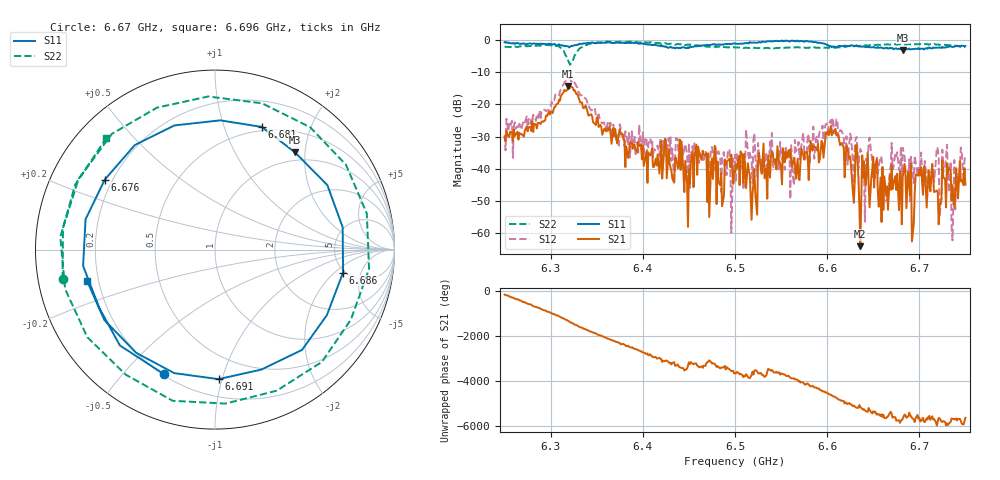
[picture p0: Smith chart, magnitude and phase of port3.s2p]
# Hz S RI R 50
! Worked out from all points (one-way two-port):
!   401 points, 6.25 GHz to 6.75 GHz, reference 50 ohm
!   highest |S21| = -14.26 dB at 6.319 GHz (marker M1); lowest = -64.0 dB at 6.636 GHz (marker M2)
!   lowest |S11| = -3.1 dB at 6.682 GHz (marker M3), VSWR 5.70, Z = 42.3 + j90.2 ohm
!   |S11| at or under -10 dB: nowhere
!   |S22| runs from -7.6 to -0.4 dB; largest |S21 - S12| = 0.33
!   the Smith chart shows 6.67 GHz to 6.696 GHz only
!   S11 on the Smith chart (normalised r, x): 6.67 GHz: 0.21, -0.65; 6.676 GHz: 0.17, +0.28; 6.681 GHz: 0.46, +1.35; 6.686 GHz: 4.83, -2.60; 6.691 GHz: 0.32, -0.97; 6.696 GHz: 0.16, -0.12
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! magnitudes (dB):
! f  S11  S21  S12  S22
! 6.25 GHz  -0.6  -30.1  -29.4  -2.1
! 6.319 GHz  -2.0  -14.3  -12.2  -6.4
! 6.334 GHz  -1.2  -19.4  -17.1  -2.2
! 6.418 GHz  -1.7  -41.5  -36.0  -0.9
! 6.446 GHz  -2.4  -37.5  -32.3  -1.6
! 6.5 GHz  -1.1  -41.2  -35.6  -2.3
! 6.52 GHz  -0.8  -44.7  -31.0  -2.4
! 6.529 GHz  -0.5  -41.5  -37.6  -2.5
! 6.584 GHz  -0.5  -34.3  -32.8  -2.4
! 6.61 GHz  -2.2  -29.6  -24.6  -2.3
! 6.636 GHz  -2.0  -64.0  -33.8  -1.8
! 6.668 GHz  -2.4  -42.0  -41.2  -1.4
! 6.67 GHz  -2.5  -38.8  -31.9  -1.3
! 6.676 GHz  -2.8  -41.5  -34.8  -1.4
! 6.681 GHz  -2.7  -57.2  -45.0  -1.2
! 6.682 GHz  -3.1  -42.5  -33.5  -1.3
! 6.686 GHz  -2.8  -52.2  -43.6  -1.3
! 6.691 GHz  -2.8  -38.4  -36.2  -1.3
! 6.696 GHz  -2.7  -41.8  -37.7  -1.2
! 6.728 GHz  -2.3  -43.3  -39.3  -1.5
! 6.738 GHz  -2.0  -52.0  -37.2  -1.7
! 6.75 GHz  -1.8  -44.9  -35.6  -2.2
